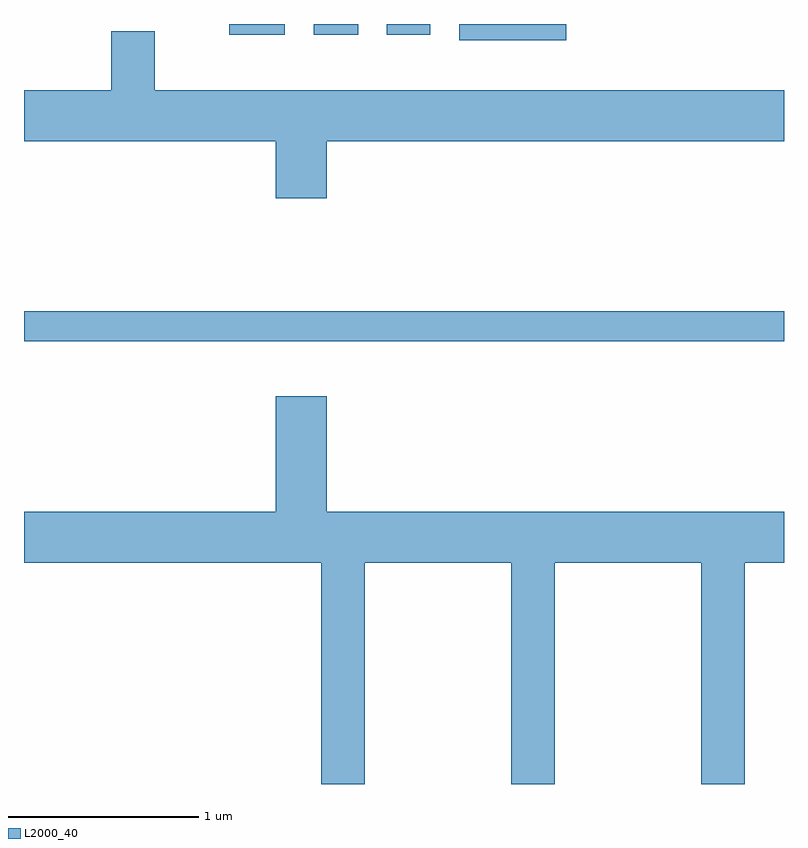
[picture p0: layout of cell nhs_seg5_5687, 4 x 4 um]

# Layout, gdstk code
import gdstk
lib = gdstk.Library(unit=1e-6, precision=1e-09)
def R(c, l, rs):  # rectangles x0, y0, x1, y1
    for r in rs: c.add(gdstk.rectangle(r[:2], r[2:], *l))
def P(c, l, *ps):  # polygons
    for p in ps: c.add(gdstk.Polygon(p, *l))
L2000_40 = (2000, 40)

nhs_seg5_5687 = lib.new_cell('nhs_seg5_5687')
R(nhs_seg5_5687, L2000_40, [(353.611,1462.401,357.611,1462.559), (355.903,1463.986,356.464,1464.072), (354.691,1464.016,354.984,1464.072), (355.136,1464.016,355.369,1464.072), (355.521,1464.016,355.749,1464.072)])
P(nhs_seg5_5687, L2000_40, [(355.204,1463.456),(357.611,1463.456),(357.611,1463.724),(354.299,1463.724),(354.299,1464.034),(354.071,1464.034),(354.071,1463.724),(353.611,1463.724),(353.611,1463.456),(354.936,1463.456),(354.936,1463.156),(355.204,1463.156)],
  [(355.404,1461.236),(356.176,1461.236),(356.176,1460.072),(356.404,1460.072),(356.404,1461.236),(357.176,1461.236),(357.176,1460.072),(357.404,1460.072),(357.404,1461.236),(357.611,1461.236),(357.611,1461.504),(355.204,1461.504),(355.204,1462.114),(354.936,1462.114),(354.936,1461.504),(353.611,1461.504),(353.611,1461.236),(355.176,1461.236),(355.176,1460.072),(355.404,1460.072)])

lib.write_gds('nhs_seg5_5687.gds')
